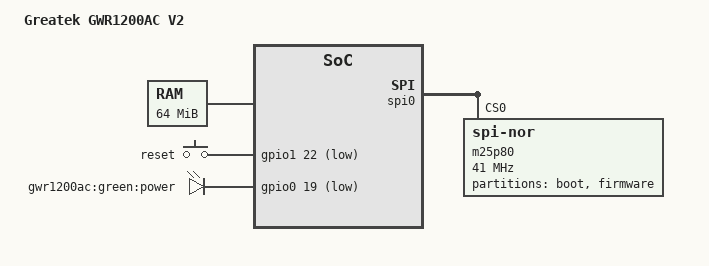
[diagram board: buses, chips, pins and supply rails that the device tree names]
// SPDX-License-Identifier: GPL-2.0
/dts-v1/;

#include "RTL8197FVG.dtsi"

#include <dt-bindings/gpio/gpio.h>
#include <dt-bindings/input/input.h>

/ {
	compatible = "greatek,gwr1200ac", "realtek,rtl8197f-soc";
	model = "Greatek GWR1200AC V2";

	aliases {
		led-boot = &led_status;
		led-failsafe = &led_status;
		led-running = &led_status;
		led-upgrade = &led_status;
	};

	memory {
		device_type = "memory";
		reg = <0x0 0x4000000>;
	};

	chosen {
		bootargs = "console=ttyS0,38400";
	};

	gpio-keys-polled {
		compatible = "gpio-keys-polled";
		#address-cells = <1>;
		#size-cells = <0>;
		poll-interval = <20>;

		reset {
			label = "reset";
			gpios = <&gpio1 22 GPIO_ACTIVE_LOW>;
			linux,code = <KEY_RESTART>;
		};
	};

	gpio-leds {
		compatible = "gpio-leds";

		led_status: power {
			label = "gwr1200ac:green:power";
			gpios = <&gpio0 19 GPIO_ACTIVE_LOW>;
		};

	// Breaks device switch. Still needs fix before using it
	// 	wps {
	// 		label = "gwr1200ac:green:wps";
	// 		gpios = <&gpio1 25 GPIO_ACTIVE_LOW>;
	// 	};

	};
};

&gpio0 {
	status = "okay";
};

&gpio1 {
	status = "okay";
};

&spi0 {
	status = "okay";

	m25p80@0 {
		#address-cells = <1>;
		#size-cells = <1>;
		compatible = "jedec,spi-nor";
		reg = <0>;
		spi-max-frequency = <41000000>;

		partition@0 {
			label = "boot";
			reg = <0x0 0x30000>;
			read-only;
		};

		partition@30000 {
			label = "firmware";
			reg = <0x30000 0x7C0000>;
		};
	};
};
